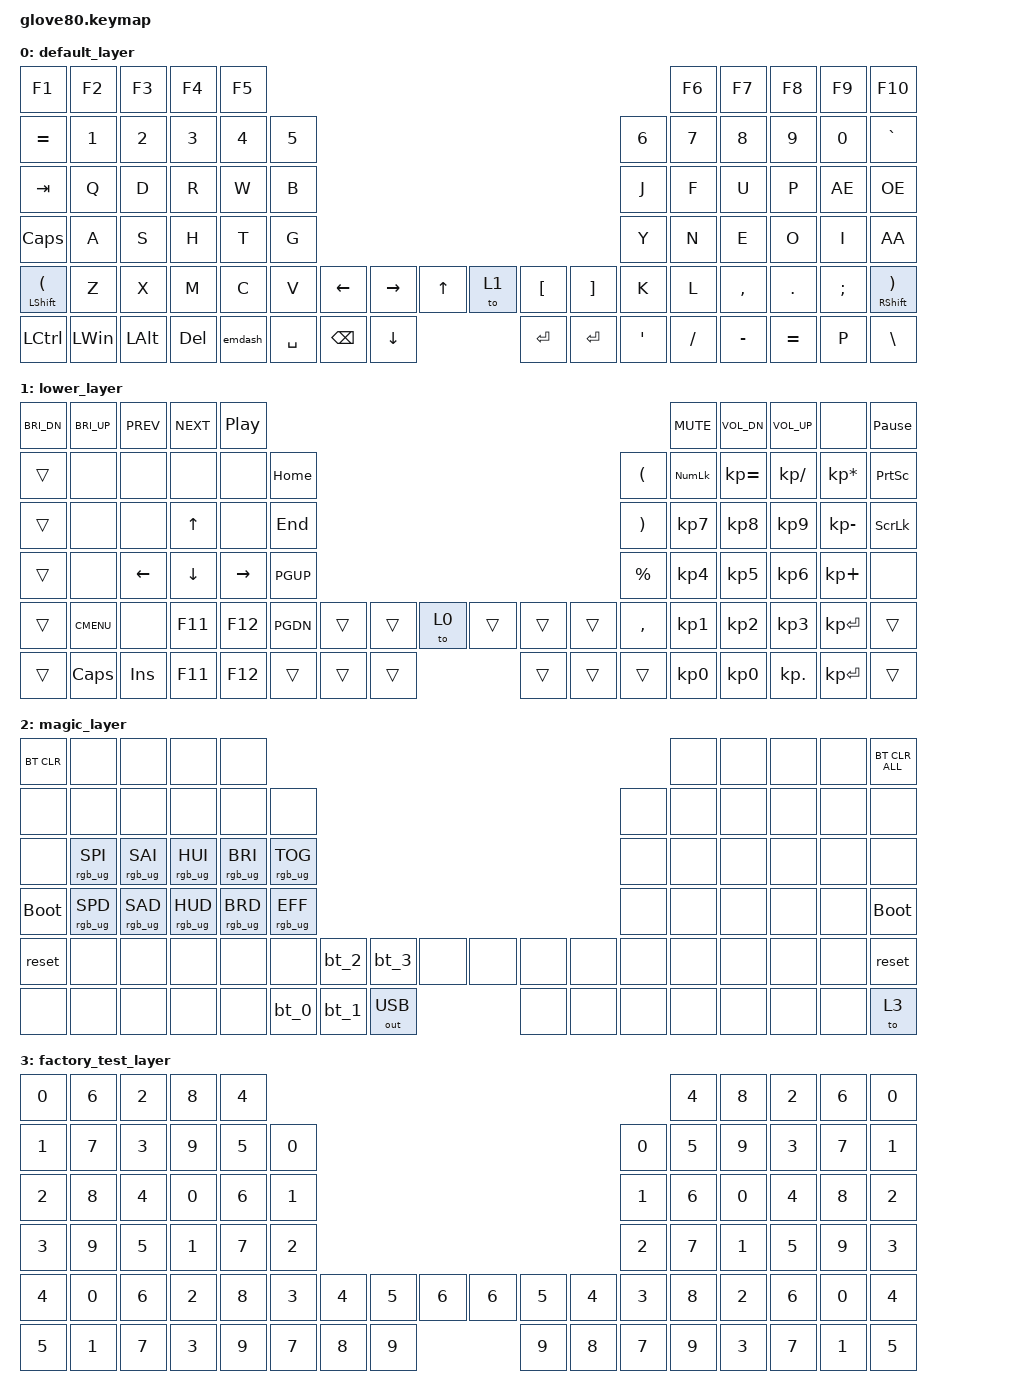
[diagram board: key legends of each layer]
/*
 * Copyright (c) 2020 The ZMK Contributors
 *
 * SPDX-License-Identifier: MIT
 */

#include <behaviors.dtsi>
#include <dt-bindings/zmk/keys.h>
#include <dt-bindings/zmk/bt.h>
#include <dt-bindings/zmk/rgb.h>
#include <dt-bindings/zmk/outputs.h>

#define HYPER LC(LS(LG(LALT)))// layers
#define DEFAULT 0
#define LOWER 1
#define MAGIC 2
#define FACTORY_TEST 3

/ {
    behaviors {
        // For the "layer" key, it'd nice to be able to use it as either a shift or a toggle.
        // Configure it as a tap dance, so the first tap (or hold) is a &mo and the second tap is a &to

        layer_td: tap_dance_0 {
            compatible = "zmk,behavior-tap-dance";
            label = "LAYER_TAP_DANCE";
            #binding-cells = <0>;
            tapping-term-ms = <200>;
            bindings =
                <&mo LOWER>,
                <&to LOWER>;
        };
    };

    macros {
        rgb_ug_status_macro: rgb_ug_status_macro_0 {
            label = "RGB_UG_STATUS";
            compatible = "zmk,behavior-macro";
            #binding-cells = <0>;
            bindings = <&rgb_ug RGB_STATUS>;
        };
        OE: OE {
            compatible = "zmk,behavior-macro";
            label = "new_macro";
            #binding-cells = <0>;
            bindings =
                <&macro_press>,
                <&kp RIGHT_ALT>,
                <&macro_tap>,
                <&kp P>,
                <&macro_release>,
                <&kp RIGHT_ALT>;
        };
        AE: AE {
            compatible = "zmk,behavior-macro";
            label = "new_macro";
            #binding-cells = <0>;
            bindings =
                <&macro_press>,
                <&kp RIGHT_ALT>,
                <&macro_tap>,
                <&kp W>,
                <&macro_release>,
                <&kp RIGHT_ALT>;
        };
        AA: AA {
            compatible = "zmk,behavior-macro";
            label = "new_macro";
            #binding-cells = <0>;
            bindings =
                <&macro_press>,
                <&kp RIGHT_ALT>,
                <&macro_tap>,
                <&kp Q>,
                <&macro_release>,
                <&kp RIGHT_ALT>;
        };
        emdash: emdash {
            compatible = "zmk,behavior-macro";
            label = "new_macro";
            #binding-cells = <0>;
            bindings =
                <&macro_press>,
                <&kp RIGHT_ALT>,
                <&macro_tap>,
                <&kp KP_NUMBER_0 &kp KP_NUMBER_1 &kp KP_NUMBER_5 &kp KP_NUMBER_1>,
                <&macro_release>,
                <&kp RIGHT_ALT>;
        };
        nonbreakingspace: nonbreakingspace {
            compatible = "zmk,behavior-macro";
            label = "new_macro";
            #binding-cells = <0>;
            bindings =
                <&macro_press>,
                <&kp RIGHT_ALT>,
                <&macro_press>,
                <&kp KP_NUMBER_0 &kp KP_NUMBER_1 &kp KP_NUMBER_6 &kp KP_NUMBER_0>,
                <&macro_release>,
                <&kp RIGHT_ALT>;
        };
    };

    macros {
        bt_0: bt_profile_macro_0 {
            label = "BT_0";
            compatible = "zmk,behavior-macro";
            #binding-cells = <0>;
            bindings =
                <&out OUT_BLE>,
                <&bt BT_SEL 0>;
        };
    };

    macros {
        bt_1: bt_profile_macro_1 {
            label = "BT_1";
            compatible = "zmk,behavior-macro";
            #binding-cells = <0>;
            bindings =
                <&out OUT_BLE>,
                <&bt BT_SEL 1>;
        };
    };

    macros {
        bt_2: bt_profile_macro_2 {
            label = "BT_2";
            compatible = "zmk,behavior-macro";
            #binding-cells = <0>;
            bindings =
                <&out OUT_BLE>,
                <&bt BT_SEL 2>;
        };
    };

    macros {
        bt_3: bt_profile_macro_3 {
            label = "BT_3";
            compatible = "zmk,behavior-macro";
            #binding-cells = <0>;
            bindings =
                <&out OUT_BLE>,
                <&bt BT_SEL 3>;
        };
    };

    magic: magic_hold_tap {
        compatible = "zmk,behavior-hold-tap";
        label = "MAGIC_HOLD_TAP";
        #binding-cells = <2>;
        flavor = "tap-preferred";
        tapping-term-ms = <200>;
        bindings =
            <&mo>,
            <&rgb_ug_status_macro>;
    };

    combos {
        compatible = "zmk,combos";

        f11 {
            bindings = <&kp F11>;
            key-positions = <7 8>;
        };

        f12 {
            bindings = <&kp F12>;
            key-positions = <9 8>;
        };

        printscreen {
            bindings = <&kp PRINTSCREEN>;
            key-positions = <54 71>;
        };

        nonbreakingspace {
            bindings = <&nonbreakingspace>;
            key-positions = <69 52>;
        };

        escapey {
            bindings = <&kp ESCAPE>;
            key-positions = <0 1>;
        };
    };

    keymap {
        compatible = "zmk,keymap";

        default_layer {
            // ---------------------------------------------------------------------------------------------------------------------------------
            // |  F1   |  F2 |  F3 |  F4  |  F5  |                                                               |  F6   |  F7   |  F8  |   F9  |  F10 |
            // |  =    |  1  |  2  |  3   |  4   |  5   |                                                 |  6   |   7   |   8   |  9   |   0   |   -  |
            // |  TAB  |  Q  |  W  |  E   |  R   |  T   |                                                 |  Y   |   U   |   I   |  O   |   P   |   \  |
            // |  ESC  |  A  |  S  |  D   |  F   |  G   |                                                 |  H   |   J   |   K   |  L   |   ;   |   '  |
            // |   `   |  Z  |  X  |  C   |  V   |  B   | LSHFT | LCTRL | LOWER | | LGUI  | RCTRL | RSHFT |  N   |   M   |   ,   |  .   |   /   | PGUP |
            // | MAGIC | HOME| END | LEFT | RIGHT|      | BSPC  | DEL   | LALT  | | RALT  | RET   | SPACE |      |  UP   | DOWN  |  [   |   ]   | PGDN |

            bindings = <
                          &kp F1        &kp F2        &kp F3   &kp F4   &kp F5                                                                                                                      &kp F6     &kp F7     &kp F8    &kp F9                            &kp F10
                       &kp EQUAL        &kp N1        &kp N2   &kp N3   &kp N4  &kp N5                                                                                                   &kp N6     &kp N7     &kp N8     &kp N9    &kp N0                          &kp GRAVE
                         &kp TAB         &kp Q         &kp D    &kp R    &kp W   &kp B                                                                                                    &kp J      &kp F      &kp U      &kp P       &AE                                &OE
                    &kp CAPSLOCK         &kp A         &kp S    &kp H    &kp T   &kp G                                                                                                    &kp Y      &kp N      &kp E      &kp O     &kp I                                &AA
 &mt LEFT_SHIFT LEFT_PARENTHESIS         &kp Z         &kp X    &kp M    &kp C   &kp V  &kp LEFT_ARROW  &kp RIGHT_ARROW    &kp UP_ARROW      &to 1  &kp LEFT_BRACKET  &kp RIGHT_BRACKET   &kp K      &kp L  &kp COMMA    &kp DOT  &kp SEMI  &mt RIGHT_SHIFT RIGHT_PARENTHESIS
                &kp LEFT_CONTROL  &kp LEFT_WIN  &kp LEFT_ALT  &kp DEL  &emdash               &kp SPACE    &kp BACKSPACE  &kp DOWN_ARROW  &kp ENTER           &kp RET   &kp SINGLE_QUOTE          &kp SLASH  &kp MINUS  &kp EQUAL     &kp P                      &kp BACKSLASH
            >;
        };

        lower_layer {
            bindings = <
 &kp C_BRI_DN  &kp C_BRI_UP  &kp C_PREV  &kp C_NEXT   &kp C_PP                                                                       &kp C_MUTE  &kp C_VOL_DN   &kp C_VOL_UP            &none  &kp PAUSE_BREAK
       &trans         &none       &none       &none      &none  &kp HOME                                                   &kp LPAR  &kp KP_NUM  &kp KP_EQUAL  &kp KP_DIVIDE  &kp KP_MULTIPLY        &kp PSCRN
       &trans         &none       &none      &kp UP      &none   &kp END                                                   &kp RPAR   &kp KP_N7     &kp KP_N8      &kp KP_N9     &kp KP_MINUS         &kp SLCK
       &trans         &none    &kp LEFT    &kp DOWN  &kp RIGHT  &kp PGUP                                                  &kp PRCNT   &kp KP_N4     &kp KP_N5      &kp KP_N6      &kp KP_PLUS            &none
       &trans   &kp K_CMENU       &none     &kp F11    &kp F12  &kp PGDN  &trans  &trans   &to 0  &trans  &trans  &trans  &kp COMMA   &kp KP_N1     &kp KP_N2      &kp KP_N3     &kp KP_ENTER           &trans
       &trans      &kp CAPS     &kp INS     &kp F11    &kp F12            &trans  &trans  &trans  &trans  &trans  &trans              &kp KP_N0     &kp KP_N0     &kp KP_DOT     &kp KP_ENTER           &trans
            >;
        };

        magic_layer {
            bindings = <
  &bt BT_CLR            &none            &none            &none            &none                                                                                  &none   &none   &none   &none  &bt BT_CLR_ALL
       &none            &none            &none            &none            &none            &none                                                         &none   &none   &none   &none   &none           &none
       &none  &rgb_ug RGB_SPI  &rgb_ug RGB_SAI  &rgb_ug RGB_HUI  &rgb_ug RGB_BRI  &rgb_ug RGB_TOG                                                         &none   &none   &none   &none   &none           &none
 &bootloader  &rgb_ug RGB_SPD  &rgb_ug RGB_SAD  &rgb_ug RGB_HUD  &rgb_ug RGB_BRD  &rgb_ug RGB_EFF                                                         &none   &none   &none   &none   &none     &bootloader
      &reset            &none            &none            &none            &none            &none   &bt_2   &bt_3         &none   &none   &none   &none   &none   &none   &none   &none   &none          &reset
       &none            &none            &none            &none            &none                    &bt_0   &bt_1  &out OUT_USB   &none   &none   &none           &none   &none   &none   &none           &to 3
            >;
        };

        factory_test_layer {
            bindings = <
 &kp N0  &kp N6  &kp N2  &kp N8  &kp N4                                                                  &kp N4  &kp N8  &kp N2  &kp N6  &kp N0
 &kp N1  &kp N7  &kp N3  &kp N9  &kp N5  &kp N0                                                  &kp N0  &kp N5  &kp N9  &kp N3  &kp N7  &kp N1
 &kp N2  &kp N8  &kp N4  &kp N0  &kp N6  &kp N1                                                  &kp N1  &kp N6  &kp N0  &kp N4  &kp N8  &kp N2
 &kp N3  &kp N9  &kp N5  &kp N1  &kp N7  &kp N2                                                  &kp N2  &kp N7  &kp N1  &kp N5  &kp N9  &kp N3
 &kp N4  &kp N0  &kp N6  &kp N2  &kp N8  &kp N3  &kp N4  &kp N5  &kp N6  &kp N6  &kp N5  &kp N4  &kp N3  &kp N8  &kp N2  &kp N6  &kp N0  &kp N4
 &kp N5  &kp N1  &kp N7  &kp N3  &kp N9          &kp N7  &kp N8  &kp N9  &kp N9  &kp N8  &kp N7          &kp N9  &kp N3  &kp N7  &kp N1  &kp N5
            >;
        };
    };
};
